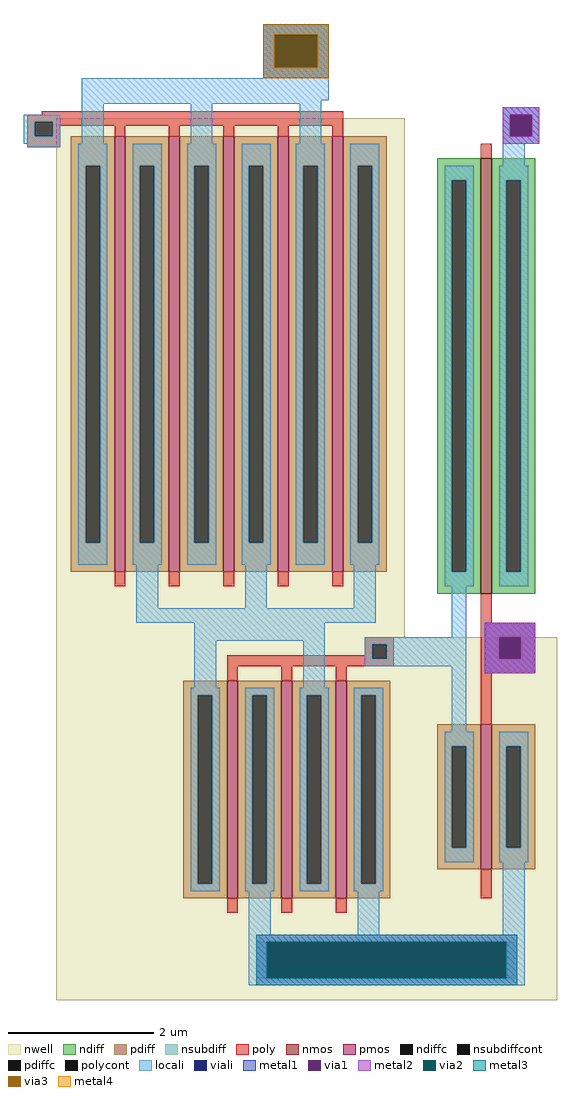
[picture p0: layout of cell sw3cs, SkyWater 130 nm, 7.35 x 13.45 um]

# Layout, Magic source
magic
tech sky130A
<< nwell >>
rect -365 -2640 115 -1925
rect -365 -3140 325 -2640
<< nmos >>
rect 220 -2580 235 -1980
<< pmos >>
rect -285 -2550 -270 -1950
rect -210 -2550 -195 -1950
rect -135 -2550 -120 -1950
rect -60 -2550 -45 -1950
rect 15 -2550 30 -1950
rect -130 -3000 -115 -2700
rect -55 -3000 -40 -2700
rect 20 -3000 35 -2700
rect 220 -2960 235 -2760
<< ndiff >>
rect 160 -2010 220 -1980
rect 160 -2550 180 -2010
rect 200 -2550 220 -2010
rect 160 -2580 220 -2550
rect 235 -2010 295 -1980
rect 235 -2550 255 -2010
rect 275 -2550 295 -2010
rect 235 -2580 295 -2550
<< pdiff >>
rect -345 -1990 -285 -1950
rect -345 -2510 -325 -1990
rect -305 -2510 -285 -1990
rect -345 -2550 -285 -2510
rect -270 -1990 -210 -1950
rect -270 -2510 -250 -1990
rect -230 -2510 -210 -1990
rect -270 -2550 -210 -2510
rect -195 -1990 -135 -1950
rect -195 -2510 -175 -1990
rect -155 -2510 -135 -1990
rect -195 -2550 -135 -2510
rect -120 -1990 -60 -1950
rect -120 -2510 -100 -1990
rect -80 -2510 -60 -1990
rect -120 -2550 -60 -2510
rect -45 -1990 15 -1950
rect -45 -2510 -25 -1990
rect -5 -2510 15 -1990
rect -45 -2550 15 -2510
rect 30 -1990 90 -1950
rect 30 -2510 50 -1990
rect 70 -2510 90 -1990
rect 30 -2550 90 -2510
rect -190 -2720 -130 -2700
rect -190 -2980 -170 -2720
rect -150 -2980 -130 -2720
rect -190 -3000 -130 -2980
rect -115 -2720 -55 -2700
rect -115 -2980 -95 -2720
rect -75 -2980 -55 -2720
rect -115 -3000 -55 -2980
rect -40 -2720 20 -2700
rect -40 -2980 -20 -2720
rect 0 -2980 20 -2720
rect -40 -3000 20 -2980
rect 35 -2720 95 -2700
rect 35 -2980 55 -2720
rect 75 -2980 95 -2720
rect 160 -2790 220 -2760
rect 160 -2930 180 -2790
rect 200 -2930 220 -2790
rect 160 -2960 220 -2930
rect 235 -2790 295 -2760
rect 235 -2930 255 -2790
rect 275 -2930 295 -2790
rect 235 -2960 295 -2930
rect 35 -3000 95 -2980
<< ndiffc >>
rect 180 -2550 200 -2010
rect 255 -2550 275 -2010
<< pdiffc >>
rect -325 -2510 -305 -1990
rect -250 -2510 -230 -1990
rect -175 -2510 -155 -1990
rect -100 -2510 -80 -1990
rect -25 -2510 -5 -1990
rect 50 -2510 70 -1990
rect -170 -2980 -150 -2720
rect -95 -2980 -75 -2720
rect -20 -2980 0 -2720
rect 55 -2980 75 -2720
rect 180 -2930 200 -2790
rect 255 -2930 275 -2790
<< nsubdiff >>
rect -90 -3075 270 -3060
rect -90 -3100 -75 -3075
rect 255 -3100 270 -3075
rect -90 -3110 270 -3100
<< nsubdiffcont >>
rect -75 -3100 255 -3075
<< poly >>
rect -385 -1920 30 -1915
rect -405 -1930 30 -1920
rect -405 -1950 -395 -1930
rect -370 -1935 30 -1930
rect -370 -1950 -360 -1935
rect -285 -1950 -270 -1935
rect -210 -1950 -195 -1935
rect -135 -1950 -120 -1935
rect -60 -1950 -45 -1935
rect 15 -1950 30 -1935
rect -405 -1965 -360 -1950
rect 220 -1980 235 -1960
rect -285 -2570 -270 -2550
rect -210 -2570 -195 -2550
rect -135 -2570 -120 -2550
rect -60 -2570 -45 -2550
rect 15 -2570 30 -2550
rect 220 -2620 235 -2580
rect 220 -2640 295 -2620
rect 60 -2650 100 -2640
rect 60 -2665 70 -2650
rect -130 -2670 70 -2665
rect 90 -2670 100 -2650
rect -130 -2680 100 -2670
rect 220 -2670 245 -2640
rect 275 -2670 295 -2640
rect -130 -2700 -115 -2680
rect -55 -2700 -40 -2680
rect 20 -2700 35 -2680
rect 220 -2690 295 -2670
rect 220 -2760 235 -2690
rect 220 -3000 235 -2960
rect -130 -3020 -115 -3000
rect -55 -3020 -40 -3000
rect 20 -3020 35 -3000
<< polycont >>
rect -395 -1950 -370 -1930
rect 70 -2670 90 -2650
rect 245 -2670 275 -2640
<< locali >>
rect -80 -1810 10 -1795
rect -80 -1855 -65 -1810
rect -5 -1855 10 -1810
rect -80 -1870 10 -1855
rect -330 -1900 10 -1870
rect -330 -1905 0 -1900
rect -410 -1930 -360 -1920
rect -410 -1950 -395 -1930
rect -370 -1950 -360 -1930
rect -410 -1960 -360 -1950
rect -330 -1960 -300 -1905
rect -180 -1960 -150 -1905
rect -30 -1960 0 -1905
rect 250 -1920 300 -1910
rect 250 -1950 260 -1920
rect 290 -1950 300 -1920
rect 250 -1960 300 -1950
rect -405 -1965 -360 -1960
rect -335 -1990 -295 -1960
rect -335 -2510 -325 -1990
rect -305 -2510 -295 -1990
rect -335 -2540 -295 -2510
rect -260 -1990 -220 -1960
rect -260 -2510 -250 -1990
rect -230 -2510 -220 -1990
rect -260 -2540 -220 -2510
rect -185 -1990 -145 -1960
rect -185 -2510 -175 -1990
rect -155 -2510 -145 -1990
rect -185 -2540 -145 -2510
rect -110 -1990 -70 -1960
rect -110 -2510 -100 -1990
rect -80 -2510 -70 -1990
rect -110 -2540 -70 -2510
rect -35 -1990 5 -1960
rect -35 -2510 -25 -1990
rect -5 -2510 5 -1990
rect -35 -2540 5 -2510
rect 40 -1990 80 -1960
rect 250 -1990 280 -1960
rect 40 -2510 50 -1990
rect 70 -2510 80 -1990
rect 40 -2540 80 -2510
rect 170 -2010 210 -1990
rect -255 -2600 -225 -2540
rect -105 -2600 -75 -2540
rect 45 -2600 75 -2540
rect 170 -2550 180 -2010
rect 200 -2550 210 -2010
rect 170 -2570 210 -2550
rect 245 -2010 285 -1990
rect 245 -2550 255 -2010
rect 275 -2550 285 -2010
rect 245 -2570 285 -2550
rect -255 -2620 75 -2600
rect -175 -2645 5 -2620
rect 180 -2640 200 -2570
rect -175 -2710 -145 -2645
rect -25 -2710 5 -2645
rect 60 -2650 200 -2640
rect 60 -2670 70 -2650
rect 90 -2670 200 -2650
rect 60 -2680 200 -2670
rect -180 -2720 -140 -2710
rect -180 -2980 -170 -2720
rect -150 -2980 -140 -2720
rect -180 -2990 -140 -2980
rect -105 -2720 -65 -2710
rect -105 -2980 -95 -2720
rect -75 -2980 -65 -2720
rect -105 -2990 -65 -2980
rect -30 -2720 10 -2710
rect -30 -2980 -20 -2720
rect 0 -2980 10 -2720
rect -30 -2990 10 -2980
rect 45 -2720 85 -2710
rect 45 -2980 55 -2720
rect 75 -2980 85 -2720
rect 180 -2770 200 -2680
rect 225 -2640 295 -2620
rect 225 -2670 245 -2640
rect 275 -2670 295 -2640
rect 225 -2690 295 -2670
rect 170 -2790 210 -2770
rect 170 -2930 180 -2790
rect 200 -2930 210 -2790
rect 170 -2950 210 -2930
rect 245 -2790 285 -2770
rect 245 -2930 255 -2790
rect 275 -2930 285 -2790
rect 245 -2950 285 -2930
rect 45 -2990 85 -2980
rect -100 -3050 -70 -2990
rect 50 -3050 80 -2990
rect 250 -3050 280 -2950
rect -100 -3060 280 -3050
rect -100 -3110 -75 -3060
rect 255 -3110 280 -3060
rect -100 -3120 280 -3110
<< viali >>
rect -65 -1855 -5 -1810
rect 260 -1950 290 -1920
rect 245 -2670 275 -2640
rect -75 -3075 255 -3060
rect -75 -3100 255 -3075
rect -75 -3110 255 -3100
<< metal1 >>
rect -80 -1810 10 -1795
rect -80 -1855 -65 -1810
rect -5 -1855 10 -1810
rect -80 -1870 10 -1855
rect 250 -1920 300 -1910
rect 250 -1950 260 -1920
rect 290 -1950 300 -1920
rect 250 -1960 300 -1950
rect 225 -2640 295 -2620
rect 225 -2670 245 -2640
rect 275 -2670 295 -2640
rect 225 -2690 295 -2670
rect -90 -3060 270 -3050
rect -90 -3110 -75 -3060
rect 255 -3110 270 -3060
rect -90 -3120 270 -3110
<< via1 >>
rect -65 -1855 -5 -1810
rect 260 -1950 290 -1920
rect 245 -2670 275 -2640
rect -75 -3110 255 -3060
<< metal2 >>
rect -80 -1810 10 -1795
rect -80 -1855 -65 -1810
rect -5 -1855 10 -1810
rect -80 -1870 10 -1855
rect 250 -1920 300 -1910
rect 250 -1950 260 -1920
rect 290 -1950 300 -1920
rect 250 -1960 300 -1950
rect 225 -2640 295 -2620
rect 225 -2670 245 -2640
rect 275 -2670 295 -2640
rect 225 -2690 295 -2670
rect -90 -3060 270 -3050
rect -90 -3110 -75 -3060
rect 255 -3110 270 -3060
rect -90 -3120 270 -3110
<< via2 >>
rect -65 -1855 -5 -1810
rect -75 -3110 255 -3060
<< metal3 >>
rect -80 -1810 10 -1795
rect -80 -1855 -65 -1810
rect -5 -1855 10 -1810
rect -80 -1870 10 -1855
rect -90 -3060 270 -3050
rect -90 -3110 -75 -3060
rect 255 -3110 270 -3060
rect -90 -3120 270 -3110
<< via3 >>
rect -65 -1855 -5 -1810
<< metal4 >>
rect -80 -1810 10 -1795
rect -80 -1855 -65 -1810
rect -5 -1855 10 -1810
rect -80 -1870 10 -1855
<< end >>
